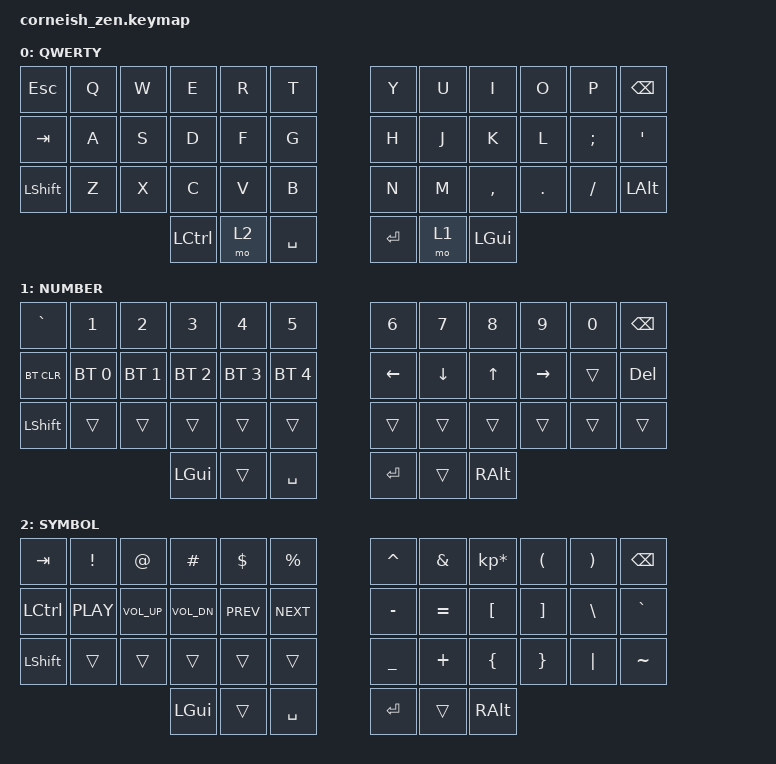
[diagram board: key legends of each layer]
#include <behaviors.dtsi>
#include <dt-bindings/zmk/keys.h>
#include <dt-bindings/zmk/bt.h>

/ {
    chosen {
        zmk,physical-layout = &foostan_corne_6col_layout;
        // zmk,physical-layout = &foostan_corne_5col_layout;
    };
};

/ {
    keymap {
        compatible = "zmk,keymap";

                default_layer {
                        label = "QWERTY";
// -----------------------------------------------------------------------------------------
// | ESC  |  Q  |  W  |  E  |  R  |  T  |   |  Y  |  U   |  I  |  O  |  P  | BKSP |
// | TAB  |  A  |  S  |  D  |  F  |  G  |   |  H  |  J   |  K  |  L  |  ;  |  '   |
// | SHFT |  Z  |  X  |  C  |  V  |  B  |   |  N  |  M   |  ,  |  .  |  /  | ALT  |
//                    | CTR | RSE | SPC |   | ENT | LWR  | GUI |
                        bindings = <
   &kp ESC   &kp Q &kp W &kp E &kp R &kp T   &kp Y &kp U  &kp I     &kp O   &kp P    &kp BSPC
   &kp TAB   &kp A &kp S &kp D &kp F &kp G   &kp H &kp J  &kp K     &kp L   &kp SEMI &kp SQT
   &kp LSHFT &kp Z &kp X &kp C &kp V &kp B   &kp N &kp M  &kp COMMA &kp DOT &kp FSLH &kp LALT
                  &kp LCTRL &mo 2 &kp SPACE   &kp RET &mo 1 &kp LGUI
                        >;
                };
                lower_layer {
                        label = "NUMBER";
// -----------------------------------------------------------------------------------------
// |  `   |  1  |  2  |  3  |  4  |  5  |   |  6  |  7  |  8  |  9  |  0  | BKSP |
// | BTCLR| BT1 | BT2 | BT3 | BT4 | BT5 |   | LFT | DWN |  UP | RGT |     | DEL  |
// | SHFT |     |     |     |     |     |   |     |     |     |     |     |      |
//                    | GUI |     | SPC |   | ENT |     | ALT |
                        bindings = <
   &kp GRAVE  &kp N1       &kp N2       &kp N3       &kp N4       &kp N5         &kp N6   &kp N7   &kp N8 &kp N9    &kp N0 &kp BSPC
   &bt BT_CLR &bt BT_SEL 0 &bt BT_SEL 1 &bt BT_SEL 2 &bt BT_SEL 3 &bt BT_SEL 4   &kp LEFT &kp DOWN &kp UP &kp RIGHT &trans &kp DEL
   &kp LSHFT  &trans       &trans       &trans       &trans       &trans         &trans   &trans   &trans &trans    &trans &trans
                          	        &kp LGUI     &trans       &kp SPACE      &kp RET  &trans   &kp RALT
                        >;
                };

        raise_layer {
            display-name = "SYMBOL";
// -----------------------------------------------------------------------------------------
// |  TAB |    !   |   @   |    #   |  $  |  %  |   |  ^  |  &  |  *  |  (  |  )  | BKSP |
// | CTRL |  PLAY  | VOLUP | VOLDWN | PRV | NXT |   |  -  |  =  |  [  |  ]  |  \  |  `   |
// | SHFT |        |       |        |     |     |   |  _  |  +  |  {  |  }  | "|" |  ~   |
//                    | GUI |     | SPC |   | ENT |     | ALT |
                        bindings = <
   &kp  TAB  &kp EXCL   &kp AT       &kp HASH     &kp DLLR   &kp PRCNT    &kp CARET &kp AMPS  &kp KP_MULTIPLY &kp LPAR &kp RPAR &kp BSPC
   &kp LCTRL &kp C_PLAY &kp C_VOL_UP &kp C_VOL_DN &kp C_PREV &kp C_NEXT   &kp MINUS &kp EQUAL &kp LBKT        &kp RBKT &kp BSLH &kp GRAVE
   &kp LSHFT &trans     &trans       &trans       &trans     &trans       &kp UNDER &kp PLUS  &kp LBRC        &kp RBRC &kp PIPE &kp TILDE
                                     &kp LGUI     &trans     &kp SPACE    &kp RET   &trans    &kp RALT
                        >;
                };
        };
};
